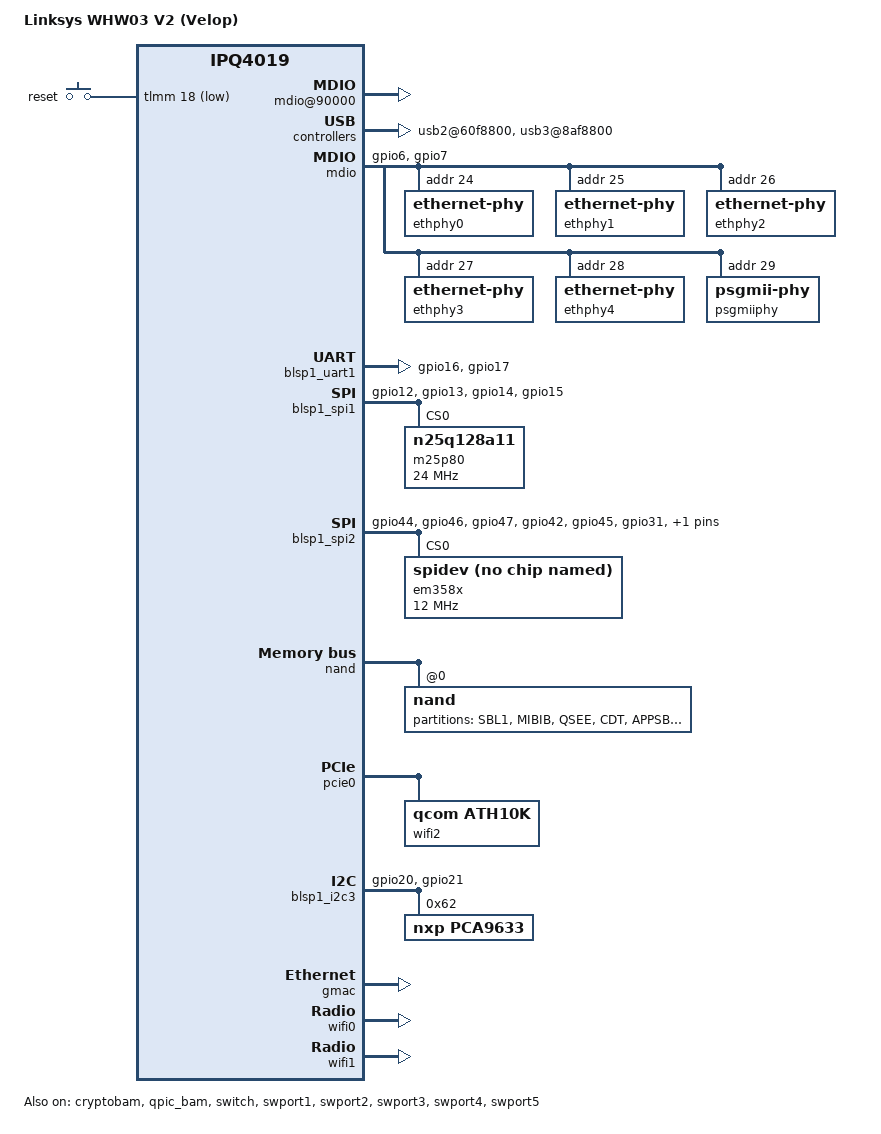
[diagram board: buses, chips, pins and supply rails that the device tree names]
// SPDX-License-Identifier: GPL-2.0-or-later OR MIT

#include "qcom-ipq4019.dtsi"
#include <dt-bindings/gpio/gpio.h>
#include <dt-bindings/input/input.h>
#include <dt-bindings/soc/qcom,tcsr.h>

/ {
	model = "Linksys WHW03 V2 (Velop)";
	compatible = "linksys,whw03v2", "qcom,ipq4019";

	aliases {
		led-boot = &led_blue;
		led-failsafe = &led_red;
		led-running = &led_green;
		led-upgrade = &led_red;
	    serial0 = &blsp1_uart1;
		uart1 = &blsp1_uart2;
	};


	chosen {
		bootargs-append = " root=/dev/ubiblock0_0 rootfstype=squashfs ro";
	};


	soc {
		rng@22000 {
			status = "okay";
		};

		mdio@90000 {
			status = "okay";
		};

		tcsr@1949000 {
			compatible = "qcom,tcsr";
			reg = <0x1949000 0x100>;
			qcom,wifi_glb_cfg = <TCSR_WIFI_GLB_CFG>;
		};

		tcsr@194b000 {
			compatible = "qcom,tcsr";
			reg = <0x194b000 0x100>;
			qcom,usb-hsphy-mode-select = <TCSR_USB_HSPHY_HOST_MODE>;
		};

		ess_tcsr@1953000 {
			compatible = "qcom,tcsr";
			reg = <0x1953000 0x1000>;
			qcom,ess-interface-select = <TCSR_ESS_PSGMII>;
		};

		tcsr@1957000 {
			compatible = "qcom,tcsr";
			reg = <0x1957000 0x100>;
			qcom,wifi_noc_memtype_m0_m2 = <TCSR_WIFI_NOC_MEMTYPE_M0_M2>;
		};

		usb2@60f8800 {
			status = "okay";
		};

		usb3@8af8800 {
			status = "okay";
		};

		crypto@8e3a000 {
			status = "okay";
		};

		watchdog@b017000 {
			status = "okay";
		};

		ess-switch@c000000 {
			status = "okay";
		};

		edma@c080000 {
			status = "okay";
		};
	};


	keys {
		compatible = "gpio-keys";

    	reset {
			label = "reset";
			gpios = <&tlmm 18 GPIO_ACTIVE_LOW>;
			linux,code = <KEY_RESTART>;
		};
    };
};

&tlmm {
	mdio_pins: mdio_pinmux {
		mux_1 {
			pins = "gpio6";
			function = "mdio";
			bias-pull-up;
		};
		mux_2 {
			pins = "gpio7";
			function = "mdc";
			bias-pull-up;
		};
	};

	i2c_0_pins: i2c_0_pinmux {
		pinmux {
			function = "blsp_i2c0";
			pins = "gpio20", "gpio21";
			bias-disable;
		};
	};

	serial_0_pins: serial0_pinmux {
		pins = "gpio16", "gpio17";
		function = "blsp_uart0";
		bias-disable;
	};

	serial_1_pins: serial1_pinmux {
		pins = "gpio8", "gpio9";
		function = "blsp_uart1";
		bias-disable;
	};

	uart_1_pins: uart1_pinmux {
		mux {
			pins = "gpio8", "gpio9", "gpio10", "gpio11";
			function = "blsp_uart1";
			bias-disable;
		};
	};

	spi_0_pins: spi_0_pinmux {
		mux {
			pins = "gpio12", "gpio13", "gpio14", "gpio15";
			function = "blsp_spi0";
			bias-disable;
		};
	};
	
	spi_1_pins: spi_1_pinmux {
		mux {
			pins = "gpio44", "gpio46", "gpio47";
			function = "blsp_spi1";
			bias-disable;
		};
		host_int {
			pins = "gpio42";
			function = "gpio";
			input;
		};
		cs {
			pins = "gpio45";
			function = "gpio";
			bias-pull-up;
		};
		wake {
			pins = "gpio31";
			function = "gpio";
			output-high;
		};
		reset {
		    pins = "gpio49";
		    function = "gpio";
		    output-high;
		};
    };
};

&mdio {
	status = "okay";
	pinctrl-0 = <&mdio_pins>;
	pinctrl-names = "default";
	phy-reset-gpio = <&tlmm 19 GPIO_ACTIVE_LOW>;

    ethphy0: ethernet-phy@0 {
	    status = "okay";
        reg = <0x18>;
        #reg = <0x00>;
    };

    ethphy1: ethernet-phy@1 {
	    status = "okay";
        reg = <0x19>;
        #reg = <0x01>;
    };

    ethphy2: ethernet-phy@2 {
	    status = "okay";
        reg = <0x1a>;
        #reg = <0x02>;
    };

    ethphy3: ethernet-phy@3 {
	    status = "okay";
        reg = <0x1b>;
        #reg = <0x03>;
    };

    ethphy4: ethernet-phy@4 {
	    status = "okay";
        reg = <0x1c>;
        #reg = <0x04>;
    };

	psgmiiphy: psgmii-phy@5 {
		reg = <0x1d>;
		#reg = <0x05>;
 	};
};


&blsp_dma {
	status = "okay";
};

&blsp1_uart1 {
	status = "okay";
	pinctrl-0 = <&serial_0_pins>;
	pinctrl-names = "default";

};

&blsp1_uart2 {
	status = "disabled";
	pinctrl-0 = <&uart_1_pins>;
	pinctrl-1 = <&uart_1_pins>;
	pinctrl-names = "default", "sleep";

};

&cryptobam {
	status = "okay";
};

&blsp1_spi1 {
    pinctrl-0 = <&spi_0_pins>;
    pinctrl-names = "default";
    status = "okay";
    m25p80@0 {
        #address-cells = <1>;
        #size-cells = <1>;
        reg = <0x0>;
        compatible = "n25q128a11";
        linux,modalias = "m25p80", "n25q128a11";
        spi-max-frequency = <0x16e3600>;
        use-default-sizes;
        };
};

&blsp1_spi2 {
    pinctrl-0 = <&spi_1_pins>;
    pinctrl-names = "default";
    status = "okay";
    em358x@0 {
        compatible = "linux,spidev";
        reg = <0x00>;
        spi-max-frequency = <0xb71b00>;
    };
};

&nand {
	status = "okay";

	nand@0 {
		partitions {
			compatible = "fixed-partitions";
			#address-cells = <1>;
			#size-cells = <1>;

			partition@0 {
				label = "SBL1";
				reg = <0x0 0x100000>;
				read-only;
			};

			partition@100000 {
				label = "MIBIB";
				reg = <0x100000 0x100000>;
				read-only;
			};

			partition@200000 {
				label = "QSEE";
				reg = <0x200000 0x100000>;
				read-only;
			};

			partition@300000 {
				label = "CDT";
				reg = <0x300000 0x80000>;
				read-only;
			};

			partition@380000 {
				label = "APPSBL";
				reg = <0x380000 0x200000>;
				read-only;
			};

			partition@580000 {
				label = "ART";
				reg = <0x580000 0x80000>;
                compatible = "nvmem-cells";
				read-only;

                precal_art_1000: precal@1000 {
					reg = <0x1000 0x2f20>;
				};

                precal_art_5000: precal@5000 {
					reg = <0x5000 0x2f20>;
				};

                precal_art_9000: precal@9000 {
					reg = <0x9000 0x2f20>;
				};

                macaddr_gmac0: macaddr@0 {
					reg = <0x0 0x6>;
				};

				macaddr_gmac1: macaddr@6 {
					reg = <0x6 0x6>;
				};

                macaddr_wifi0: macaddr@1006 {
					reg = <0x1006 0x6>;
				};

                macaddr_wifi1: macaddr@5006 {
					reg = <0x5006 0x6>;
				};

                macaddr_wifi2: macaddr@9006 {
					reg = <0x9006 0x6>;
				};
			};

			partition@600000 {
				label = "u_env";
				reg = <0x600000 0x80000>;
				// writable -- U-Boot environment
			};

			partition@680000 {
				label = "s_env";
				reg = <0x680000 0x40000>;
				// writable -- Boot counter records
			};

			partition@6c0000 {
				label = "devinfo";
				reg = <0x6c0000 0x40000>;
				read-only;
			};

			partition@700000 {
				label = "kernel";
				reg = <0x700000 0xa100000>;
			};

			partition@d00000 {
				label = "rootfs";
				reg = <0xd00000 0x9b00000>;
			};

			partition@a800000 {
				label = "alt_kernel";
				reg = <0xa800000 0xa100000>;
			};

			partition@ae00000 {
				label = "alt_rootfs";
				reg = <0xae00000 0x9b00000>;
			};

			partition@14900000 {
				label = "sysdiag";
				reg = <0x14900000 0x200000>;
				read-only;
			};

			partition@14b00000 {
				label = "syscfg";
				reg = <0x14b00000 0xb500000>;
				read-only;
			};
		};
	};
};

&pcie0 {
	status = "okay";

	perst-gpio = <&tlmm 38 GPIO_ACTIVE_LOW>;
	wake-gpio = <&tlmm 40 GPIO_ACTIVE_LOW>;
	clkreq-gpio = <&tlmm 39 GPIO_ACTIVE_LOW>;

	bridge@0,0 {
		reg = <0x00000000 0 0 0 0>;
		#address-cells = <3>;
		#size-cells = <2>;
		ranges;

		wifi2: wifi@1,0 {
			compatible = "qcom,ath10k";
			reg = <0x00010000 0 0 0 0>;
		};
	};
};

&qpic_bam {
	status = "okay";
};


&blsp1_i2c3 {
	pinctrl-0 = <&i2c_0_pins>;
	pinctrl-1 = <&i2c_0_pins>;
	pinctrl-names = "i2c_active", "i2c_sleep";

	status = "okay";

    // RGB LEDs
	pca9633@62 {
		compatible = "nxp,pca9633";
		reg = <0x62>;
		#address-cells = <1>;
		#size-cells = <0>;

		led_red: red@0 {
			label = "red";
			reg = <0>;
		};
		led_green: green@1 {
			label = "green";
			reg = <1>;
		};
		led_blue: blue@2 {
			label = "blue";
			reg = <2>;
		};
		led_unusued: unused@3 {
			label = "unused";
			reg = <3>;
		};
	};
};


&gmac {
	status = "okay";
};

&switch {
	status = "okay";
};

&swport1 {
	status = "okay";

	nvmem-cell-names = "mac-address";
	nvmem-cells = <&macaddr_gmac1>;
};

&swport2 {
	status = "okay";

	nvmem-cell-names = "mac-address";
	nvmem-cells = <&macaddr_gmac1>;
};


&swport3 {
	status = "okay";

	nvmem-cell-names = "mac-address";
	nvmem-cells = <&macaddr_gmac1>;
};

&swport4 {
	status = "okay";

	nvmem-cell-names = "mac-address";
	nvmem-cells = <&macaddr_gmac1>;
};

&swport5 {
	status = "okay";

	nvmem-cell-names = "mac-address";
	nvmem-cells = <&macaddr_gmac0>;
};


&wifi0 {
	status = "okay";

	ieee80211-freq-limit = <2401000 2473000>;
    qcom,ath10k-calibration-variant = "linksys-whw03v2-fcc";

    nvmem-cell-names = "pre-calibration", "mac-address";
    nvmem-cells = <&precal_art_1000>, <&macaddr_wifi0>;
};

&wifi1 {
	status = "okay";
	
	ieee80211-freq-limit = <5170000 5250000>;
    qcom,ath10k-calibration-variant = "linksys-whw03v2-fcc";
    
    nvmem-cell-names = "pre-calibration", "mac-address";
    nvmem-cells = <&precal_art_5000>, <&macaddr_wifi1>;
};

&wifi2 {
	status = "okay";

	ieee80211-freq-limit = <5735000 5835000>;
	qcom,ath10k-calibration-variant = "linksys-whw03v2-fcc";

	nvmem-cell-names = "pre-calibration", "mac-address";
	nvmem-cells = <&precal_art_9000>, <&macaddr_wifi2>;
};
